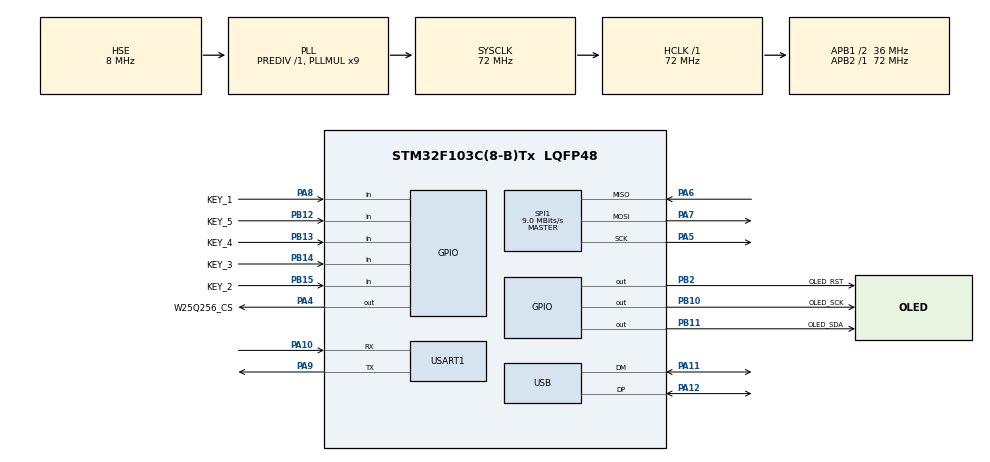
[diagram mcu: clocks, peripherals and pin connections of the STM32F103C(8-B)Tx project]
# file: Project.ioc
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Mcu.Family=STM32F1
Mcu.Name=STM32F103C(8-B)Tx
Mcu.Package=LQFP48
NVIC.PriorityGroup=NVIC_PRIORITYGROUP_4
NVIC.SPI1_IRQn=true\:0\:0\:false\:false\:true\:true\:true\:true
NVIC.TIM2_IRQn=true\:0\:0\:false\:false\:true\:true\:true\:true
NVIC.USB_LP_CAN1_RX0_IRQn=true\:0\:0\:false\:false\:true\:false\:true\:true
PA10.Mode=Asynchronous
PA10.Signal=USART1_RX
PA11.Mode=Device
PA11.Signal=USB_DM
PA12.Mode=Device
PA12.Signal=USB_DP
PA13.Mode=Serial_Wire
PA13.Signal=SYS_JTMS-SWDIO
PA14.Mode=Serial_Wire
PA14.Signal=SYS_JTCK-SWCLK
PA4.GPIO_Label=W25Q256_CS
PA4.Signal=GPIO_Output
PA5.Mode=Full_Duplex_Master
PA5.Signal=SPI1_SCK
PA6.Mode=Full_Duplex_Master
PA6.Signal=SPI1_MISO
PA7.Mode=Full_Duplex_Master
PA7.Signal=SPI1_MOSI
PA8.GPIO_Label=KEY_1
PA8.GPIO_PuPd=GPIO_PULLDOWN
PA8.Signal=GPIO_Input
PA9.Mode=Asynchronous
PA9.Signal=USART1_TX
PB10.GPIO_Label=OLED_SCK
PB10.Signal=GPIO_Output
PB11.GPIO_Label=OLED_SDA
PB11.Signal=GPIO_Output
PB12.GPIO_Label=KEY_5
PB12.GPIO_PuPd=GPIO_PULLDOWN
PB12.Signal=GPIO_Input
PB13.GPIO_Label=KEY_4
PB13.GPIO_PuPd=GPIO_PULLDOWN
PB13.Signal=GPIO_Input
PB14.GPIO_Label=KEY_3
PB14.GPIO_PuPd=GPIO_PULLDOWN
PB14.Signal=GPIO_Input
PB15.GPIO_Label=KEY_2
PB15.GPIO_PuPd=GPIO_PULLDOWN
PB15.Signal=GPIO_Input
PB2.GPIO_Label=OLED_RST
PB2.Signal=GPIO_Output
PC14-OSC32_IN.Mode=LSE-External-Oscillator
PC14-OSC32_IN.Signal=RCC_OSC32_IN
PC15-OSC32_OUT.Mode=LSE-External-Oscillator
PC15-OSC32_OUT.Signal=RCC_OSC32_OUT
PD0-OSC_IN.Mode=HSE-External-Oscillator
PD0-OSC_IN.Signal=RCC_OSC_IN
PD1-OSC_OUT.Mode=HSE-External-Oscillator
PD1-OSC_OUT.Signal=RCC_OSC_OUT
ProjectManager.HeapSize=0x200
ProjectManager.StackSize=0x400
ProjectManager.TargetToolchain=MDK-ARM V5.32
RCC.AHBFreq_Value=72000000
RCC.APB1CLKDivider=RCC_HCLK_DIV2
RCC.APB1Freq_Value=36000000
RCC.APB1TimFreq_Value=72000000
RCC.APB2Freq_Value=72000000
RCC.APB2TimFreq_Value=72000000
RCC.HCLKFreq_Value=72000000
RCC.PLLMUL=RCC_PLL_MUL9
RCC.PLLSourceVirtual=RCC_PLLSOURCE_HSE
RCC.SYSCLKFreq_VALUE=72000000
RCC.SYSCLKSource=RCC_SYSCLKSOURCE_PLLCLK
RCC.USBFreq_Value=48000000
RCC.USBPrescaler=RCC_USBCLKSOURCE_PLL_DIV1_5
SPI1.BaudRatePrescaler=SPI_BAUDRATEPRESCALER_8
SPI1.CLKPhase=SPI_PHASE_2EDGE
SPI1.CLKPolarity=SPI_POLARITY_HIGH
SPI1.CalculateBaudRate=9.0 MBits/s
SPI1.Direction=SPI_DIRECTION_2LINES
SPI1.Mode=SPI_MODE_MASTER
SPI1.VirtualType=VM_MASTER
TIM2.Period=1000-1
TIM2.Prescaler=72-1
USART1.VirtualMode=VM_ASYNC
USB_DEVICE.CLASS_NAME_FS=CDC
USB_DEVICE.VID=0x1234
USB_DEVICE.VirtualMode=Cdc
USB_DEVICE.VirtualModeFS=Cdc_FS
VP_TIM2_VS_ClockSourceINT.Mode=Internal
VP_USB_DEVICE_VS_USB_DEVICE_CDC_FS.Mode=CDC_FS
board=custom

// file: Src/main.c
/* USER CODE BEGIN Header */
/**
  ******************************************************************************
  * @file           : main.c
  * @brief          : Main program body
  ******************************************************************************
  * @attention
  *
  * Copyright (c) 2026 STMicroelectronics.
  * All rights reserved.
  *
  * This software is licensed under terms that can be found in the LICENSE file
  * in the root directory of this software component.
  * If no LICENSE file comes with this software, it is provided AS-IS.
  *
  ******************************************************************************
__ALIGN_BEGIN static uint8_t HID_MOUSE_ReportDesc[HID_MOUSE_REPORT_DESC_SIZE]  __ALIGN_END =
{
0x05, 0x01,        // Usage Page (Generic Desktop Ctrls)
0x09, 0x06,        // Usage (Keyboard)
0xA1, 0x01,        // Collection (Application)
0x05, 0x07,        //   Usage Page (Kbrd/Keypad)
0x19, 0xE0,        //   Usage Minimum (0xE0)
0x29, 0xE7,        //   Usage Maximum (0xE7)
0x15, 0x00,        //   Logical Minimum (0)
0x25, 0x01,        //   Logical Maximum (1)
0x75, 0x01,        //   Report Size (1)
0x95, 0x08,        //   Report Count (8)
0x81, 0x02,        //   Input (Data,Var,Abs,No Wrap,Linear,Preferred State,No Null Position)
0x95, 0x01,        //   Report Count (1)
0x75, 0x08,        //   Report Size (8)
0x81, 0x01,        //   Input (Const,Array,Abs,No Wrap,Linear,Preferred State,No Null Position)
0x95, 0x05,        //   Report Count (5)
0x75, 0x01,        //   Report Size (1)
0x05, 0x08,        //   Usage Page (LEDs)
0x19, 0x01,        //   Usage Minimum (Num Lock)
0x29, 0x03,        //   Usage Maximum (Scroll Lock)
0x91, 0x02,        //   Output (Data,Var,Abs,No Wrap,Linear,Preferred State,No Null Position,Non-volatile)
0x95, 0x01,        //   Report Count (1)
0x75, 0x03,        //   Report Size (3)
0x91, 0x01,        //   Output (Const,Array,Abs,No Wrap,Linear,Preferred State,No Null Position,Non-volatile)
0x95, 0x06,        //   Report Count (6)
0x75, 0x08,        //   Report Size (8)
0x15, 0x00,        //   Logical Minimum (0)
0x25, 0x65,        //   Logical Maximum (101)
0x05, 0x07,        //   Usage Page (Kbrd/Keypad)
0x19, 0x00,        //   Usage Minimum (0x00)
0x29, 0x65,        //   Usage Maximum (0x65)
0x81, 0x00,        //   Input (Data,Array,Abs,No Wrap,Linear,Preferred State,No Null Position)
0xC0,              // End Collection
// 63 bytes
};

#define HID_EPIN_SIZE                 0x08U	//Keyboard
#define HID_MOUSE_REPORT_DESC_SIZE    63U	//Keyboard

The data lenght is 256Byte
Sector  -> 16 Data
Block   -> 256 Data
Chip    -> 131072 Data

No        : 4Byte
Platform  : 32Byte
Account   : 32Byte
Password  : 128Byte

Platfrom(32Byte):Github
Account(32Byte):User@exmple.com
Password(AES - 128Byte):6175dbaffbfa020634fef45d79b3d392986ab04f577bd23551e231fe13b7bc2f986ab04f577bd23551e231fe13b7bc2f986ab04f577bd23551e231fe13b7bc2f

-----------------------------
No        : 4Byte
Platform  : 64Byte
Account   : 64Byte
Password  : 32Byte
Data Lenght -> 196Byte

	*/
/* USER CODE END Header */
#include "main.h"
#include "spi.h"
#include "tim.h"
#include "usart.h"
#include "usb_device.h"
#include "gpio.h"

/* USER CODE BEGIN Includes */
#include <stdio.h>
#include "OLED.h"
#include "Key.h"
#include "oled_menu.h"
#include "w25q256.h"
#include "data_storage.h"
#include "sha_256.h"
#include "InternalFlash.h"
#include "usbd_cdc_if.h"
#include "aes_ecb.h"
/* USER CODE END Includes */

/* USER CODE BEGIN PD */
// 定义存储地址
#define UNIQUE_ID_BASE_ADDRESS 0x1FFFF7E8
/* USER CODE END PD */

/* USER CODE BEGIN PV */

uint32_t lastSelectTime = 0;
uint32_t tick = 0;
uint16_t softwd = 0;

uint8_t DriverLock = 1;
uint8_t UnlockPassword[8] = {0, 0, 0, 0, 0, 0, 0, 0};
uint8_t UnlockPasswordIndex = 0;
uint8_t ResetPassword = 0;
uint8_t read_data[32];

uint8_t showMenu_Flag = 1;
uint8_t showSystemVersion_Flag = 0;
uint8_t showSystemSerialNumber_Flag = 0;

uint8_t GetDataForPC_Flag = 0;
uint8_t GetDataForPC_DataIndex = 0;

uint8_t cdc_buff_index = 0;
uint8_t cdc_buff[64];

uint32_t lastcurri_m = 0;
uint8_t ContentIndex_m = 0;
uint8_t ContentLenght_m = 0;
/* USER CODE END PV */

void SystemClock_Config(void);

int main(void)
{

  /* MCU Configuration--------------------------------------------------------*/

  /* Reset of all peripherals, Initializes the Flash interface and the Systick. */
  HAL_Init();

  /* Configure the system clock */
  SystemClock_Config();

  /* Initialize all configured peripherals */
  MX_GPIO_Init();
  MX_USART1_UART_Init();
  MX_USB_DEVICE_Init();
  MX_TIM2_Init();
  MX_SPI1_Init();
  /* USER CODE BEGIN 2 */

	OLED_Init();
	Key_Init();
  W25qxx_Init();

  HAL_Delay(3000);

	printf("Initialize done!\r\n");
	printf("HCLK Freq = %d\r\n", HAL_RCC_GetHCLKFreq());
	printf("PCLK1 Freq = %d\r\n", HAL_RCC_GetPCLK1Freq());
	printf("PCLK2 Freq = %d\r\n", HAL_RCC_GetPCLK2Freq());
	printf("SYSCLK Freq = %d\r\n", HAL_RCC_GetSysClockFreq());

	usb_printf("Initialize done!\r\n");
	usb_printf("HCLK Freq = %d\r\n", HAL_RCC_GetHCLKFreq());
	usb_printf("PCLK1 Freq = %d\r\n", HAL_RCC_GetPCLK1Freq());
	usb_printf("PCLK2 Freq = %d\r\n", HAL_RCC_GetPCLK2Freq());
	usb_printf("SYSCLK Freq = %d\r\n", HAL_RCC_GetSysClockFreq());

	HAL_TIM_Base_Start_IT(&htim2);

  /* USER CODE END 2 */

  /* Infinite loop */
  /* USER CODE BEGIN WHILE */
  OLED_Clear();
  OLED_ShowString(0, 0, "System Start", OLED_8X16);
  OLED_Update();
  HAL_Delay(500);

  INTFLASH_ReadBuffer(INTFLASH_USER_START_ADDR, read_data, sizeof(hash));

  //Lock driver
  while(DriverLock){
    Handle_Buttons();

    if(DriverLock){
      PasswordUI();
    }

    softwd = 0;
  }

  HAL_Delay(500);
  MenuInit(MainMenu);
  OLED_Clear();

  while (1)
  {
    /* USER CODE END WHILE */

    /* USER CODE BEGIN 3 */
  Handle_Buttons();

  if(showSystemVersion_Flag){
    OLED_ShowString(0, 0, "Ver1.0.0.00", OLED_8X16);
    OLED_Update();
  }
  if(showSystemSerialNumber_Flag){
    OLED_ShowHexNum(0, 0, *(volatile uint32_t *)(UNIQUE_ID_BASE_ADDRESS), 8, OLED_6X8);
    OLED_ShowHexNum(48, 0, *(volatile uint32_t *)(UNIQUE_ID_BASE_ADDRESS + 4), 8, OLED_6X8);
    OLED_ShowHexNum(24, 8, *(volatile uint32_t *)(UNIQUE_ID_BASE_ADDRESS + 8), 8, OLED_6X8);
    OLED_Update();
  }
  if(GetDataForPC_Flag){
    uint32_t nowcurri = HAL_GetTick();
    if(nowcurri > lastcurri_m + 1000){
        lastcurri_m = nowcurri;
        ContentIndex_m--;
    }
    switch (GetDataForPC_DataIndex)
    {
    case 0:
      if(ContentIndex_m == 0 || ContentLenght_m == 0) ContentLenght_m = ContentIndex_m = strlen((cdc_buff));
      OLED_ShowString(0, 0, (cdc_buff + ContentLenght_m - ContentIndex_m), OLED_6X8);
      OLED_ShowString(0, 8, "Platfrom", OLED_6X8);
      OLED_Update();
      OLED_Clear();
      break;
    case 1:
      if(ContentIndex_m == 0 || ContentLenght_m == 0) ContentLenght_m = ContentIndex_m = strlen((cdc_buff));
      OLED_ShowString(0, 0, (cdc_buff + ContentLenght_m - ContentIndex_m), OLED_6X8);
      OLED_ShowString(0, 8, "Account", OLED_6X8);
      OLED_Update();
      OLED_Clear();
      break;
    case 2:
      if(ContentIndex_m == 0 || ContentLenght_m == 0) ContentLenght_m = ContentIndex_m = strlen((cdc_buff));
      OLED_ShowString(0, 0, (cdc_buff + ContentLenght_m - ContentIndex_m), OLED_6X8);
      OLED_ShowString(0, 8, "Password", OLED_6X8);
      OLED_Update();
      OLED_Clear();
      break;

    default:
      break;
    }
  }
  if(showMenu_Flag) MenuDisplay();
  if(ResetPassword){
    if(DriverLock == 1){
      PasswordUI();
    }
  }

    // USBD_HID_SendReport(&hUsbDeviceFS, KeyboardBuff, sizeof(KeyboardBuff) / sizeof(KeyboardBuff[0]));
  HAL_Delay(10);
  softwd = 0;
  }
  /* USER CODE END 3 */
}

void SystemClock_Config(void)
{
  RCC_OscInitTypeDef RCC_OscInitStruct = {0};
  RCC_ClkInitTypeDef RCC_ClkInitStruct = {0};
  RCC_PeriphCLKInitTypeDef PeriphClkInit = {0};

  /** Initializes the RCC Oscillators according to the specified parameters
  * in the RCC_OscInitTypeDef structure.
  */
  RCC_OscInitStruct.OscillatorType = RCC_OSCILLATORTYPE_HSE;
  RCC_OscInitStruct.HSEState = RCC_HSE_ON;
  RCC_OscInitStruct.HSEPredivValue = RCC_HSE_PREDIV_DIV1;
  RCC_OscInitStruct.HSIState = RCC_HSI_ON;
  RCC_OscInitStruct.PLL.PLLState = RCC_PLL_ON;
  RCC_OscInitStruct.PLL.PLLSource = RCC_PLLSOURCE_HSE;
  RCC_OscInitStruct.PLL.PLLMUL = RCC_PLL_MUL9;
  if (HAL_RCC_OscConfig(&RCC_OscInitStruct) != HAL_OK)
  {
    Error_Handler();
  }

  /** Initializes the CPU, AHB and APB buses clocks
  */
  RCC_ClkInitStruct.ClockType = RCC_CLOCKTYPE_HCLK|RCC_CLOCKTYPE_SYSCLK
                              |RCC_CLOCKTYPE_PCLK1|RCC_CLOCKTYPE_PCLK2;
  RCC_ClkInitStruct.SYSCLKSource = RCC_SYSCLKSOURCE_PLLCLK;
  RCC_ClkInitStruct.AHBCLKDivider = RCC_SYSCLK_DIV1;
  RCC_ClkInitStruct.APB1CLKDivider = RCC_HCLK_DIV2;
  RCC_ClkInitStruct.APB2CLKDivider = RCC_HCLK_DIV1;

  if (HAL_RCC_ClockConfig(&RCC_ClkInitStruct, FLASH_LATENCY_2) != HAL_OK)
  {
    Error_Handler();
  }
  PeriphClkInit.PeriphClockSelection = RCC_PERIPHCLK_USB;
  PeriphClkInit.UsbClockSelection = RCC_USBCLKSOURCE_PLL_DIV1_5;
  if (HAL_RCCEx_PeriphCLKConfig(&PeriphClkInit) != HAL_OK)
  {
    Error_Handler();
  }
}

/* USER CODE BEGIN 4 */

void Handle_Buttons(void) {
    static uint32_t lastKeyTime = 0;
    uint32_t currentTime = HAL_GetTick();
    if (currentTime - lastKeyTime < 200) return;
    if(DriverLock){
      //Left
      if (KeyInputBuff[0].KeyState != KEY_UP) {
          if(UnlockPasswordIndex > 0) UnlockPasswordIndex--;
          lastKeyTime = currentTime;
      }
      // Up
      if (KeyInputBuff[1].KeyState != KEY_UP) {
          if(UnlockPassword[UnlockPasswordIndex] < 9) UnlockPassword[UnlockPasswordIndex]++;
          lastSelectTime = currentTime;
          lastKeyTime = currentTime;
      }
      // OK
      if (KeyInputBuff[2].KeyState != KEY_UP) {
          uint32_t tmp_pwd = UnlockPassword[0] * 10 ^ 7;
          tmp_pwd += UnlockPassword[1] * 10 ^ 6;
          tmp_pwd += UnlockPassword[2] * 10 ^ 5;
          tmp_pwd += UnlockPassword[3] * 10 ^ 4;
          tmp_pwd += UnlockPassword[4] * 10 ^ 3;
          tmp_pwd += UnlockPassword[5] * 10 ^ 2;
          tmp_pwd += UnlockPassword[6] * 10 ^ 1;
          tmp_pwd += UnlockPassword[7];
          SHA256_Init(&ctx);
          SHA256_Update(&ctx, &tmp_pwd, 8);
          SHA256_Final(&ctx, hash);
          VerifyPassword();
          lastKeyTime = currentTime;
      }
      // Right
      if (KeyInputBuff[3].KeyState != KEY_UP) {
          if(UnlockPasswordIndex < 7) UnlockPasswordIndex++;
          lastKeyTime = currentTime;
      }
      // Down
      if (KeyInputBuff[4].KeyState != KEY_UP) {
          if(UnlockPassword[UnlockPasswordIndex] > 0) UnlockPassword[UnlockPasswordIndex]--;
          lastSelectTime = currentTime;
          lastKeyTime = currentTime;
      }
    }
    else{
      //Left
      if (KeyInputBuff[0].KeyState != KEY_UP) {
        usb_printf("Left Click!\r\n");
        Menu_Back();
        lastKeyTime = currentTime;
      }
      //Up
      if (KeyInputBuff[1].KeyState != KEY_UP) {
        Menu_Up();
        usb_printf("Up Click!\r\n");
        lastSelectTime = currentTime;
        lastKeyTime = currentTime;
      }
      // OK
      if (KeyInputBuff[2].KeyState != KEY_UP) {
        usb_printf("OK Click!\r\n");
          if(showMenu_Flag) Menu_Enter();
          lastKeyTime = currentTime;
      }
      //Right
      if (KeyInputBuff[3].KeyState != KEY_UP) {
        usb_printf("Right Click!\r\n");
          StatusSwitch();
          lastKeyTime = currentTime;
      }
      //Down
      if (KeyInputBuff[4].KeyState != KEY_UP) {
        usb_printf("Down Click!\r\n");
          Menu_Down();
          lastSelectTime = currentTime;
          lastKeyTime = currentTime;
      }
    }
}

void PasswordUI(void){
  OLED_ShowChar(UnlockPasswordIndex * 12, 0, '+', OLED_6X8);
  //0 12 24 36 48 60 72 84
  OLED_Printf(0, 8, OLED_6X8, "%01d %01d %01d %01d %01d %01d %01d %01d", UnlockPassword[0],
    UnlockPassword[1], UnlockPassword[2], UnlockPassword[3], UnlockPassword[4], UnlockPassword[5],
    UnlockPassword[6], UnlockPassword[7]);

    OLED_Update();
    OLED_Clear();
}

void VerifyPassword(void){
  /* 锟斤拷始锟斤拷 */
  INTFLASH_Init();
  if(ResetPassword && DriverLock == 1) INTFLASH_EraseUserArea();
  uint8_t result = 0;

  uint32_t hasPWD = 0x00;
  if (result == INTFLASH_OK) {
      /* 写锟斤拷锟斤拷锟斤拷 */

      for(uint8_t i = 0;i < 32;i++) if(read_data[i] == 0xFF) hasPWD = hasPWD | (0x80000000 >> i);
      // for(uint8_t i = 0;i < 32;i++) usb_printf("%02X", read_data[i]);
      usb_printf("\r\n");
      if(hasPWD == 0xFFFFFFFF) result = INTFLASH_WriteBuffer(INTFLASH_USER_START_ADDR, hash, sizeof(hash));
      if (result == INTFLASH_OK) {
          /* 锟斤拷取锟斤拷锟斤拷 */
          INTFLASH_ReadBuffer(INTFLASH_USER_START_ADDR, read_data, sizeof(hash));
          /* 锟斤拷证 */
          if (INTFLASH_VerifyData(INTFLASH_USER_START_ADDR, hash, sizeof(hash))) {
              /* 锟缴癸拷 */
              if(!ResetPassword){
                for(uint8_t i = 0;i < 8;i++) UnlockPassword[i] = 0;
                OLED_ShowString(0,0,"  WELCOME  ", OLED_8X16);
                OLED_Update();
                HAL_Delay(500);
              }
              else{
                OLED_ShowString(0,0,"SET PWD OK!", OLED_8X16);
                OLED_Update();
                HAL_Delay(500);
                Function_Reboot();
              }
              DriverLock = 0;
          }
      }
  }

  /* 锟斤拷锟斤拷Flash */
  INTFLASH_DeInit();
}

void HAL_TIM_PeriodElapsedCallback(TIM_HandleTypeDef *htim)
{
	if(htim == &htim2)
	{
		KeyScan(KeyInputBuff);
		KeyScan(KeyInputBuff + 1);
		KeyScan(KeyInputBuff + 2);
		KeyScan(KeyInputBuff + 3);
		KeyScan(KeyInputBuff + 4);

		softwd++;
		if(softwd > 10000){
      Function_Reboot();
		}
	}
}

void StatusSwitch(void){
  if(showSystemVersion_Flag){
    showSystemVersion_Flag = 0;
    showMenu_Flag = 1;
  }
  if(showSystemSerialNumber_Flag){
    showSystemSerialNumber_Flag = 0;
    showMenu_Flag = 1;
  }
  if(GetDataForPC_Flag){
    GetDataForPC_DataIndex++;
    memset(cdc_buff, '\0', 64);
    if(GetDataForPC_DataIndex == 3){
      GetDataForPC_DataIndex = 0;
      showMenu_Flag = 1;
      GetDataForPC_Flag = 0;
    }
  }

    // 测试不同的数据长度
    const char *test_cases[] = {
        "00112233445566778899AABBCCDDEEFF",           // 16字节，正好一个块
        "00112233445566778899AABBCCDDEEFF0011",       // 17字节，需要填充
        "00112233445566778899AABBCCDDEEFF00112233",   // 18字节，需要填充
        "0011223344556677",                           // 8字节，需要填充
        "48656C6C6F20576F726C64"                      // "Hello World" 11字节
    };

    const char *key = "15e2b0d3c33891ebb0f1ef609ec419420c20e320ce94c65fbc8c3312448eb225";

    for (int i = 0; i < 5; i++) {
        char ciphertext[256] = {0};
        char decrypted[256] = {0};

        usb_printf("\n========== Test Case %d ==========\n", i + 1);
        usb_printf("Original Data: %s\n", test_cases[i]);
        usb_printf("Original Length: %d bytes\n", (int)strlen(test_cases[i]) / 2);
        usb_printf("Key: %s\n", key);

        // 加密
        int ret = AES_ECB_Encrypt(test_cases[i], key, ciphertext, sizeof(ciphertext));
        if (ret == AES_SUCCESS) {
            usb_printf("Encrypted: %s\n", ciphertext);
            usb_printf("Encrypted Length: %d bytes\n", (int)strlen(ciphertext) / 2);

            // 解密
            ret = AES_ECB_Decrypt(ciphertext, key, decrypted, sizeof(decrypted));
            if (ret == AES_SUCCESS) {
                usb_printf("Decrypted: %s\n", decrypted);
                usb_printf("Decrypted Length: %d bytes\n", (int)strlen(decrypted) / 2);

                // 验证结果
                if (strcmp(decrypted, test_cases[i]) == 0) {
                    usb_printf("Result: SUCCESS\n");
                } else {
                    usb_printf("Result: FAILED - Data mismatch\n");
                    usb_printf("Expected: %s\n", test_cases[i]);
                    usb_printf("Got: %s\n", decrypted);
                }
            } else {
                usb_printf("Decryption failed with code: %d\n", ret);
            }
        } else {
            usb_printf("Encryption failed with code: %d\n", ret);
        }
    }

    // 测试缓冲区大小检查
    usb_printf("\n========== Buffer Size Test ==========\n");
    char small_buffer[10] = {0};
    int ret = AES_ECB_Encrypt("00112233", key, small_buffer, sizeof(small_buffer));
    if (ret == AES_ERR_BUFFER_TOO_SMALL) {
        usb_printf("Buffer size check works correctly\n");
    }

}

/* USER CODE END 4 */

void Error_Handler(void)
{
  __disable_irq();
  while (1)
  {
  }
}
